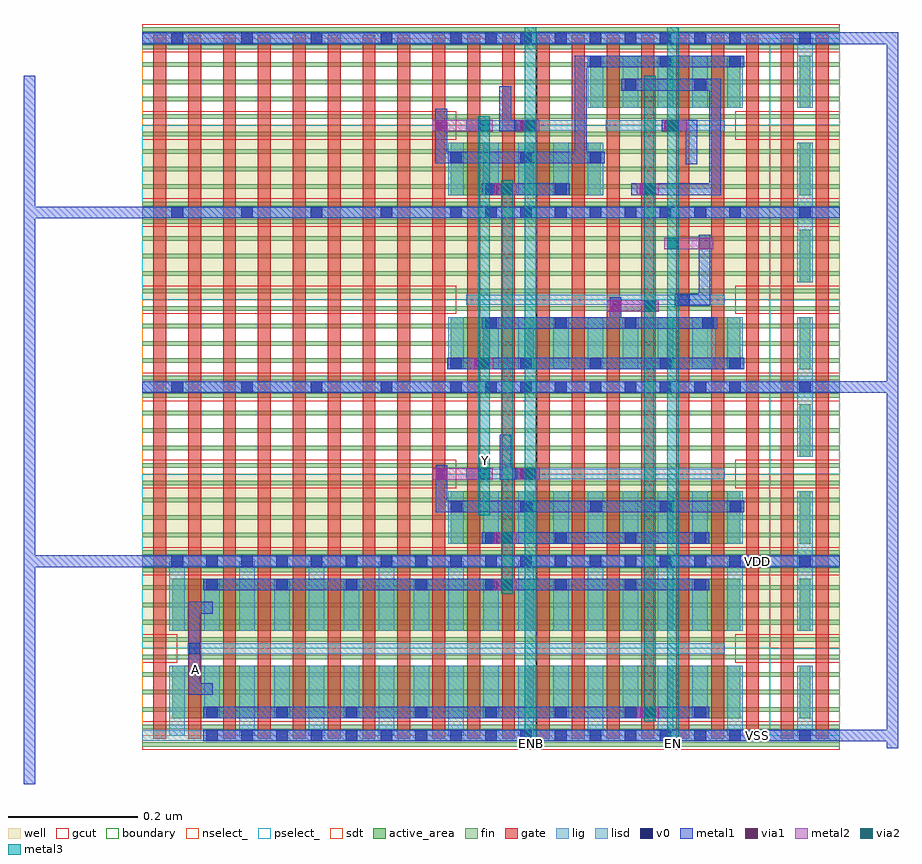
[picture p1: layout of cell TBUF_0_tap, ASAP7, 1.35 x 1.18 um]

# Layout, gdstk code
import gdstk
lib = gdstk.Library(unit=1e-6, precision=2.5e-10)
def R(c, l, rs):  # rectangles x0, y0, x1, y1
    for r in rs: c.add(gdstk.rectangle(r[:2], r[2:], *l))
def A(c, l, x, y, w, h, nx, ny, dx, dy):  # array of equal rectangles
    R(c, l, [(x+i*dx, y+j*dy, x+i*dx+w, y+j*dy+h) for i in range(nx) for j in range(ny)])
well = (1, 0)
fin = (2, 0)
gate = (7, 0)
gcut = (10, 0)
active_area = (11, 0)
nselect_ = (12, 0)
pselect_ = (13, 0)
lig = (16, 0)
lisd = (17, 0)
v0 = (18, 0)
metal1 = (19, 0)
metal2 = (20, 0)
via1 = (21, 0)
via2 = (25, 0)
metal3 = (30, 0)
sdt = (88, 0)
boundary = (100, 0)

tbuf_0 = lib.new_cell('TBUF_0')
R(tbuf_0, well, [(0,0.157,0.972,0.292), (0.432,0.292,0.972,0.427), (0.432,0.697,0.972,0.832), (0.432,0.832,0.972,0.967)])
A(tbuf_0, fin, 0, 0.005, 0.972, 0.007, 1, 11, 0, 0.027)
A(tbuf_0, fin, 0.432, 0.302, 0.54, 0.007, 1, 31, 0, 0.027)
A(tbuf_0, gate, 0.017, 0.017, 0.02, 0.28, 18, 1, 0.054, 0)
A(tbuf_0, gate, 0.449, 0.287, 0.02, 0.28, 10, 3, 0.054, 0.27)
A(tbuf_0, gcut, 0.918, 0.135, 0.054, 0.044, 1, 4, 0, 0.27)
A(tbuf_0, gcut, 0.432, 0.405, 0.054, 0.044, 1, 3, 0, 0.27)
R(tbuf_0, gcut, [(0,0,0.972,0.044), (0,0.135,0.054,0.179), (0,0.27,0.972,0.314), (0.432,0.27,0.972,0.314), (0.432,0.54,0.972,0.584), (0.432,0.54,0.972,0.584), (0.432,0.81,0.972,0.854), (0.432,0.81,0.972,0.854), (0.432,1.08,0.972,1.124)])
R(tbuf_0, active_area, [(0.046,0.049,0.926,0.13), (0.046,0.184,0.926,0.265), (0.478,0.319,0.926,0.4), (0.478,0.589,0.926,0.67), (0.478,0.859,0.71,0.94), (0.694,0.994,0.926,1.075)])
R(tbuf_0, nselect_, [(0,0.022,0.972,0.157), (0.432,0.427,0.972,0.562), (0.432,0.562,0.972,0.697), (0.432,0.967,0.972,1.102)])
R(tbuf_0, pselect_, [(0,0.157,0.972,0.292), (0.432,0.292,0.972,0.427), (0.432,0.697,0.972,0.832), (0.432,0.832,0.972,0.967)])
R(tbuf_0, lig, [(0,0.014,0.972,0.03), (0.07,0.149,0.902,0.165), (0,0.284,0.972,0.3), (0.432,0.284,0.972,0.3), (0.502,0.419,0.902,0.435), (0.432,0.554,0.972,0.57), (0.432,0.554,0.972,0.57), (0.502,0.689,0.902,0.705), (0.432,0.824,0.972,0.84), (0.432,0.824,0.972,0.84), (0.502,0.959,0.686,0.975), (0.718,0.959,0.902,0.975), (0.432,1.094,0.972,1.11)])
A(tbuf_0, lisd, 0.042, 0.022, 0.024, 0.108, 9, 2, 0.108, 0.162)
A(tbuf_0, lisd, 0.096, 0.049, 0.024, 0.081, 7, 2, 0.108, 0.135)
A(tbuf_0, lisd, 0.744, 0.184, 0.024, 0.081, 1, 3, 0, 0.405)
A(tbuf_0, lisd, 0.474, 0.319, 0.024, 0.081, 6, 2, 0.054, 0.27)
A(tbuf_0, lisd, 0.744, 0.319, 0.024, 0.081, 4, 2, 0.054, 0.675)
A(tbuf_0, lisd, 0.474, 0.859, 0.024, 0.081, 5, 1, 0.054, 0)
R(tbuf_0, lisd, [(0.744,0.049,0.768,0.13), (0.852,0.049,0.876,0.13), (0.852,0.184,0.876,0.265), (0.798,0.589,0.822,0.67), (0.852,0.589,0.888,0.67), (0.906,0.589,0.93,0.67), (0.69,0.994,0.714,1.075)])
A(tbuf_0, v0, 0.099, 0.013, 0.018, 0.018, 16, 1, 0.054, 0)
A(tbuf_0, v0, 0.099, 0.049, 0.018, 0.018, 8, 2, 0.108, 0.198)
A(tbuf_0, v0, 0.045, 0.283, 0.018, 0.018, 9, 1, 0.054, 0)
A(tbuf_0, v0, 0.909, 0.283, 0.018, 0.018, 1, 3, 0, 0.27)
A(tbuf_0, v0, 0.531, 0.319, 0.018, 0.018, 4, 1, 0.108, 0)
A(tbuf_0, v0, 0.4775, 0.368, 0.018, 0.018, 5, 1, 0.108, 0)
A(tbuf_0, v0, 0.477, 0.589, 0.018, 0.018, 5, 1, 0.108, 0)
A(tbuf_0, v0, 0.531, 0.652, 0.018, 0.018, 3, 1, 0.108, 0)
A(tbuf_0, v0, 0.477, 0.908, 0.018, 0.018, 3, 1, 0.108, 0)
A(tbuf_0, v0, 0.693, 1.057, 0.018, 0.018, 3, 1, 0.108, 0)
A(tbuf_0, v0, 0.477, 1.093, 0.018, 0.018, 9, 1, 0.054, 0)
R(tbuf_0, v0, [(0.072,0.148,0.09,0.166), (0.477,0.283,0.495,0.301), (0.531,0.283,0.549,0.301), (0.531,0.283,0.549,0.301), (0.585,0.283,0.603,0.301), (0.585,0.283,0.603,0.301), (0.639,0.283,0.657,0.301), (0.639,0.283,0.657,0.301), (0.693,0.283,0.711,0.301), (0.693,0.283,0.711,0.301), (0.747,0.283,0.765,0.301), (0.747,0.283,0.765,0.301), (0.801,0.283,0.819,0.301), (0.801,0.283,0.819,0.301), (0.855,0.283,0.873,0.301), (0.855,0.283,0.873,0.301), (0.5765,0.418,0.5945,0.436), (0.477,0.553,0.495,0.571), (0.477,0.553,0.495,0.571), (0.531,0.553,0.549,0.571), (0.531,0.553,0.549,0.571), (0.585,0.553,0.603,0.571), (0.585,0.553,0.603,0.571), (0.639,0.553,0.657,0.571), (0.639,0.553,0.657,0.571), (0.693,0.553,0.711,0.571), (0.693,0.553,0.711,0.571), (0.747,0.553,0.765,0.571), (0.747,0.553,0.765,0.571), (0.801,0.553,0.819,0.571), (0.801,0.553,0.819,0.571), (0.855,0.553,0.873,0.571), (0.855,0.553,0.873,0.571), (0.867,0.652,0.885,0.67), (0.8295,0.688,0.8475,0.706), (0.477,0.823,0.495,0.841), (0.477,0.823,0.495,0.841), (0.531,0.823,0.549,0.841), (0.531,0.823,0.549,0.841), (0.585,0.823,0.603,0.841), (0.585,0.823,0.603,0.841), (0.639,0.823,0.657,0.841), (0.639,0.823,0.657,0.841), (0.693,0.823,0.711,0.841), (0.693,0.823,0.711,0.841), (0.747,0.823,0.765,0.841), (0.747,0.823,0.765,0.841), (0.801,0.823,0.819,0.841), (0.801,0.823,0.819,0.841), (0.855,0.823,0.873,0.841), (0.855,0.823,0.873,0.841), (0.531,0.859,0.549,0.877), (0.639,0.859,0.657,0.877), (0.576,0.958,0.594,0.976), (0.8095,0.958,0.8275,0.976), (0.747,1.021,0.765,1.039), (0.855,1.021,0.873,1.039)])
R(tbuf_0, metal1, [(0.094,0.013,0.972,0.031), (0.094,0.049,0.878,0.067), (0.072,0.085,0.109,0.103), (0.072,0.085,0.09,0.229), (0.072,0.211,0.109,0.229), (0.094,0.247,0.878,0.265), (0,0.283,0.972,0.301), (0.432,0.283,0.972,0.301), (0.526,0.319,0.878,0.337), (0.4545,0.368,0.4725,0.441), (0.4725,0.368,0.9325,0.386), (0.5535,0.418,0.5715,0.4875), (0.5715,0.418,0.6085,0.436), (0.432,0.553,0.972,0.571), (0.432,0.553,0.972,0.571), (0.472,0.589,0.932,0.607), (0.526,0.652,0.89,0.67), (0.724,0.66,0.742,0.701), (0.8245,0.688,0.8615,0.706), (0.8615,0.688,0.8795,0.798), (0.432,0.823,0.972,0.841), (0.432,0.823,0.972,0.841), (0.526,0.859,0.662,0.877), (0.757,0.859,0.896,0.877), (0.878,0.876,0.896,1.039), (0.8415,0.9065,0.8595,0.976), (0.454,0.908,0.472,0.993), (0.472,0.908,0.716,0.926), (0.67,0.913,0.688,1.075), (0.553,0.958,0.571,1.0275), (0.571,0.958,0.608,0.976), (0.8045,0.958,0.8415,0.976), (0.742,1.021,0.878,1.039), (0.688,1.057,0.932,1.075), (0.432,1.093,0.972,1.111)])
R(tbuf_0, metal2, [(0.7655,0.049,0.8,0.067), (0.544,0.247,0.579,0.265), (0.544,0.319,0.579,0.337), (0.4495,0.418,0.543,0.436), (0.5805,0.418,0.6155,0.436), (0.5085,0.589,0.5435,0.607), (0.719,0.678,0.8,0.696), (0.808,0.775,0.8845,0.793), (0.544,0.859,0.579,0.877), (0.7655,0.859,0.8,0.877), (0.449,0.958,0.543,0.976), (0.58,0.958,0.615,0.976), (0.808,0.958,0.8435,0.976)])
R(tbuf_0, via1, [(0.7705,0.049,0.7885,0.067), (0.549,0.247,0.567,0.265), (0.549,0.319,0.567,0.337), (0.4545,0.418,0.4725,0.436), (0.5855,0.418,0.6035,0.436), (0.5135,0.589,0.5315,0.607), (0.724,0.678,0.742,0.696), (0.8615,0.775,0.8795,0.793), (0.549,0.859,0.567,0.877), (0.7705,0.859,0.7885,0.877), (0.454,0.958,0.472,0.976), (0.585,0.958,0.603,0.976), (0.813,0.958,0.831,0.976)])
R(tbuf_0, via2, [(0.777,0.049,0.795,0.067), (0.556,0.247,0.574,0.265), (0.556,0.319,0.574,0.337), (0.52,0.418,0.538,0.436), (0.592,0.418,0.61,0.436), (0.52,0.589,0.538,0.607), (0.777,0.678,0.795,0.696), (0.813,0.775,0.831,0.793), (0.556,0.859,0.574,0.877), (0.777,0.859,0.795,0.877), (0.52,0.958,0.538,0.976), (0.592,0.958,0.61,0.976), (0.813,0.958,0.831,0.976)])
R(tbuf_0, metal3, [(0.592,0.005,0.61,1.119), (0.813,0.005,0.831,1.119), (0.777,0.044,0.795,1.044), (0.556,0.242,0.574,0.882), (0.52,0.363,0.538,0.981)])
A(tbuf_0, sdt, 0.042, 0.049, 0.024, 0.081, 14, 2, 0.054, 0.135)
A(tbuf_0, sdt, 0.744, 0.049, 0.024, 0.081, 4, 3, 0.054, 0.135)
A(tbuf_0, sdt, 0.474, 0.319, 0.024, 0.081, 6, 2, 0.054, 0.27)
A(tbuf_0, sdt, 0.744, 0.589, 0.024, 0.081, 4, 2, 0.054, 0.405)
A(tbuf_0, sdt, 0.474, 0.859, 0.024, 0.081, 5, 1, 0.054, 0)
R(tbuf_0, sdt, [(0.69,0.994,0.714,1.075), (0.744,0.994,0.768,1.075)])
A(tbuf_0, boundary, 0.432, 0.292, 0.54, 0.27, 1, 3, 0, 0.27)
R(tbuf_0, boundary, [(0,0.022,0.972,0.292)])
tbuf_0.add(gdstk.Label('VSS', (0.4635,1.102), layer=19, texttype=251))
tbuf_0.add(gdstk.Label('VDD', (0.447,0.833), layer=19, texttype=251))
tbuf_0.add(gdstk.Label('VSS', (0.4615,0.562), layer=19, texttype=251))
tbuf_0.add(gdstk.Label('VDD', (0.412,0.291), layer=19, texttype=251))
tbuf_0.add(gdstk.Label('A', (0.0825,0.133), layer=19, texttype=251))
tbuf_0.add(gdstk.Label('VDD', (0.081,0.294), layer=19, texttype=251))
tbuf_0.add(gdstk.Label('VSS', (0.412,0.02), layer=19, texttype=251))
tbuf_0.add(gdstk.Label('VDD', (0.403,0.232), layer=1, texttype=251))
tbuf_0.add(gdstk.Label('ENB', (0.6025,0.009), layer=30, texttype=251))
tbuf_0.add(gdstk.Label('Y', (0.5325,0.42), layer=30, texttype=251))
tbuf_0.add(gdstk.Label('EN', (0.823,0.0095), layer=30, texttype=251))

tapcell_asap7_75t_r_0 = lib.new_cell('TAPCELL_ASAP7_75t_R_0')
R(tapcell_asap7_75t_r_0, well, [(0,0.135,0.108,0.27)])
A(tapcell_asap7_75t_r_0, fin, 0, 0.01, 0.108, 0.007, 1, 10, 0, 0.027)
R(tapcell_asap7_75t_r_0, gate, [(0.017,-0.005,0.037,0.275), (0.071,-0.005,0.091,0.275)])
A(tapcell_asap7_75t_r_0, gcut, 0, -0.022, 0.108, 0.044, 1, 3, 0, 0.135)
R(tapcell_asap7_75t_r_0, active_area, [(0.046,0.027,0.062,0.108), (0.046,0.162,0.062,0.243)])
R(tapcell_asap7_75t_r_0, nselect_, [(0,0.135,0.108,0.27)])
R(tapcell_asap7_75t_r_0, pselect_, [(0,0,0.108,0.135)])
R(tapcell_asap7_75t_r_0, lig, [(0,-0.008,0.108,0.008), (0,0.262,0.108,0.278)])
R(tapcell_asap7_75t_r_0, lisd, [(0.042,0,0.066,0.108), (0.042,0.162,0.066,0.27)])
R(tapcell_asap7_75t_r_0, v0, [(0.045,-0.009,0.063,0.009), (0.045,0.261,0.063,0.279)])
R(tapcell_asap7_75t_r_0, metal1, [(0,-0.009,0.108,0.009), (0,0.261,0.108,0.279)])
R(tapcell_asap7_75t_r_0, sdt, [(0.042,0.027,0.066,0.108), (0.042,0.162,0.066,0.243)])
R(tapcell_asap7_75t_r_0, boundary, [(0,0,0.108,0.27)])
tapcell_asap7_75t_r_0.add(gdstk.Label('VSS', (0.04,0.002), layer=19, texttype=251))
tapcell_asap7_75t_r_0.add(gdstk.Label('VDD', (0.021,0.271), layer=19, texttype=251))

filler_asap7_75t_r_0 = lib.new_cell('FILLER_ASAP7_75t_R_0')
R(filler_asap7_75t_r_0, well, [(0,0.135,0.108,0.27)])
A(filler_asap7_75t_r_0, fin, 0, 0.01, 0.108, 0.007, 1, 10, 0, 0.027)
R(filler_asap7_75t_r_0, gate, [(0.017,-0.005,0.037,0.275), (0.071,-0.005,0.091,0.275)])
A(filler_asap7_75t_r_0, gcut, 0, -0.022, 0.108, 0.044, 1, 3, 0, 0.135)
R(filler_asap7_75t_r_0, nselect_, [(0,0,0.108,0.135)])
R(filler_asap7_75t_r_0, pselect_, [(0,0.135,0.108,0.27)])
R(filler_asap7_75t_r_0, lig, [(0,-0.008,0.108,0.008), (0,0.262,0.108,0.278)])
R(filler_asap7_75t_r_0, v0, [(0.045,-0.009,0.063,0.009), (0.045,0.261,0.063,0.279)])
R(filler_asap7_75t_r_0, metal1, [(0,-0.009,0.108,0.009), (0,0.261,0.108,0.279)])
R(filler_asap7_75t_r_0, boundary, [(0,0,0.108,0.27)])
filler_asap7_75t_r_0.add(gdstk.Label('VDD', (0.08,0.202), layer=1, texttype=251))
filler_asap7_75t_r_0.add(gdstk.Label('VDD', (0.034,0.27), layer=19, texttype=251))
filler_asap7_75t_r_0.add(gdstk.Label('VSS', (0.038,0), layer=19, texttype=251))
filler_asap7_75t_r_0.add(gdstk.Label('VSS', (0.149,0.201), layer=3, texttype=251))

tbuf_0_tap = lib.new_cell('TBUF_0_tap')
R(tbuf_0_tap, fin, [(0.972,0.005,1.08,0.012), (0.972,0.572,1.08,0.579), (0,1.112,0.432,1.119), (0.972,1.112,1.08,1.119)])
R(tbuf_0_tap, metal1, [(-0.1835,-0.053,-0.1655,1.044), (1.1525,0.002,1.1705,1.099), (1.08,0.013,1.156,0.031), (-0.17,0.283,0.0005,0.301), (1.08,0.553,1.153,0.571), (-0.167,0.823,0.0035,0.841), (1.08,1.093,1.1705,1.111)])
tbuf_0_tap.add(gdstk.Reference(tbuf_0, (0,0)))
tbuf_0_tap.add(gdstk.Reference(tapcell_asap7_75t_r_0, (0.972,0.562), x_reflection=True))
tbuf_0_tap.add(gdstk.Reference(tapcell_asap7_75t_r_0, (0.972,0.022)))
tbuf_0_tap.add(gdstk.Reference(tapcell_asap7_75t_r_0, (0.972,0.562)))
tbuf_0_tap.add(gdstk.Reference(tapcell_asap7_75t_r_0, (0.972,1.102), x_reflection=True))
tbuf_0_tap.add(gdstk.Reference(filler_asap7_75t_r_0, (0.216,0.562), x_reflection=True))
tbuf_0_tap.add(gdstk.Reference(filler_asap7_75t_r_0, (0.108,0.562), x_reflection=True))
tbuf_0_tap.add(gdstk.Reference(filler_asap7_75t_r_0, (0.324,0.562), x_reflection=True))
tbuf_0_tap.add(gdstk.Reference(filler_asap7_75t_r_0, (0,0.562), x_reflection=True))
tbuf_0_tap.add(gdstk.Reference(filler_asap7_75t_r_0, (0.324,1.102), x_reflection=True))
tbuf_0_tap.add(gdstk.Reference(filler_asap7_75t_r_0, (0.108,1.102), x_reflection=True))
tbuf_0_tap.add(gdstk.Reference(filler_asap7_75t_r_0, (0.216,1.102), x_reflection=True))
tbuf_0_tap.add(gdstk.Reference(filler_asap7_75t_r_0, (0,1.102), x_reflection=True))
tbuf_0_tap.add(gdstk.Reference(filler_asap7_75t_r_0, (0,0.562)))
tbuf_0_tap.add(gdstk.Reference(filler_asap7_75t_r_0, (0.108,0.562)))
tbuf_0_tap.add(gdstk.Reference(filler_asap7_75t_r_0, (0.216,0.562)))
tbuf_0_tap.add(gdstk.Reference(filler_asap7_75t_r_0, (0.324,0.562)))
tbuf_0_tap.add(gdstk.Label('EN', (0.823,0.009), layer=30, texttype=251))
tbuf_0_tap.add(gdstk.Label('Y', (0.5315,0.448), layer=30, texttype=251))
tbuf_0_tap.add(gdstk.Label('ENB', (0.6025,0.009), layer=30, texttype=251))
tbuf_0_tap.add(gdstk.Label('A', (0.083,0.125), layer=19, texttype=251))
tbuf_0_tap.add(gdstk.Label('VDD', (0.9525,0.291), layer=19, texttype=251))
tbuf_0_tap.add(gdstk.Label('VSS', (0.9525,0.022), layer=19, texttype=251))

lib.write_gds('TBUF_0_tap.gds')
